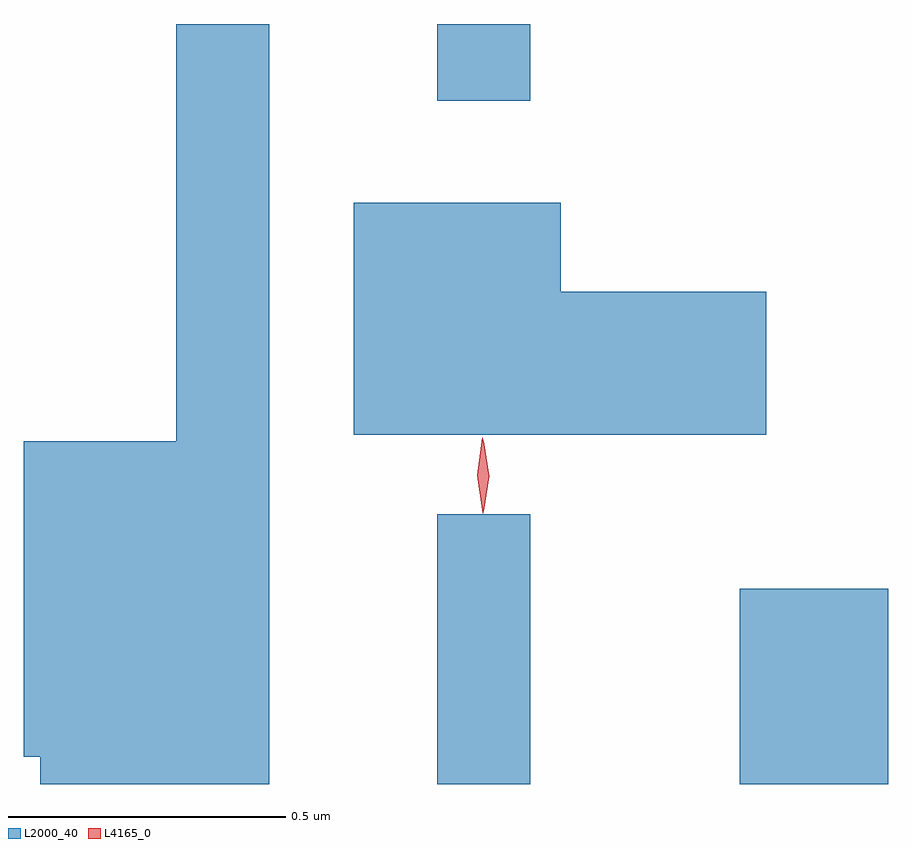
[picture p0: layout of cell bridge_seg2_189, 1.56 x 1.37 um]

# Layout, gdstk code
import gdstk
lib = gdstk.Library(unit=1e-6, precision=1e-09)
def R(c, l, rs):  # rectangles x0, y0, x1, y1
    for r in rs: c.add(gdstk.rectangle(r[:2], r[2:], *l))
def P(c, l, *ps):  # polygons
    for p in ps: c.add(gdstk.Polygon(p, *l))
L2000_40 = (2000, 40)
L4165_0 = (4165, 0)

bridge_seg2_189 = lib.new_cell('bridge_seg2_189')
R(bridge_seg2_189, L2000_40, [(833.911,977.802,834.079,978.288), (834.456,977.802,834.724,978.154), (833.911,979.033,834.079,979.171)])
P(bridge_seg2_189, L2000_40, [(833.609,979.171),(833.441,979.171),(833.441,978.419),(833.166,978.419),(833.166,977.851),(833.196,977.851),(833.196,977.802),(833.609,977.802)],
  [(834.504,978.689),(834.134,978.689),(834.134,978.849),(833.761,978.849),(833.761,978.431),(834.504,978.431)])
P(bridge_seg2_189, L4165_0, [(833.993,978.29),(833.993,978.29),(833.983,978.358),(833.992,978.426),(833.993,978.426),(833.993,978.426),(834.003,978.358),(833.994,978.29)],
  [(833.994,978.293),(833.985,978.356),(833.994,978.419),(833.994,978.42),(833.995,978.419),(834.005,978.356),(833.995,978.293),(833.995,978.293)])

lib.write_gds('bridge_seg2_189.gds')
